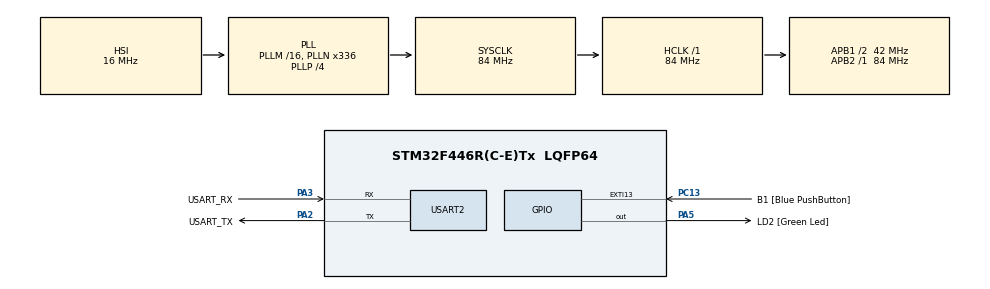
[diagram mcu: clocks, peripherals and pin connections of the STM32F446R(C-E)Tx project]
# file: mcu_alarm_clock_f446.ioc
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Mcu.Family=STM32F4
Mcu.Name=STM32F446R(C-E)Tx
Mcu.Package=LQFP64
NVIC.PriorityGroup=NVIC_PRIORITYGROUP_0
NVIC.RTC_Alarm_IRQn=true\:0\:0\:false\:false\:true\:true\:true\:true
PA13.Mode=Serial_Wire
PA13.Signal=SYS_JTMS-SWDIO
PA14.Mode=Serial_Wire
PA14.Signal=SYS_JTCK-SWCLK
PA2.GPIO_Label=USART_TX
PA2.Mode=Asynchronous
PA2.Signal=USART2_TX
PA3.GPIO_Label=USART_RX
PA3.Mode=Asynchronous
PA3.Signal=USART2_RX
PA5.GPIO_Label=LD2 [Green Led]
PA5.Signal=GPIO_Output
PC13.GPIO_Label=B1 [Blue PushButton]
PC13.GPIO_ModeDefaultEXTI=GPIO_MODE_IT_FALLING
PC13.Signal=GPXTI13
PC14-OSC32_IN.Mode=LSE-External-Oscillator
PC14-OSC32_IN.Signal=RCC_OSC32_IN
PC15-OSC32_OUT.Mode=LSE-External-Oscillator
PC15-OSC32_OUT.Signal=RCC_OSC32_OUT
PH0-OSC_IN.Mode=HSE-External-Oscillator
PH0-OSC_IN.Signal=RCC_OSC_IN
PH1-OSC_OUT.Mode=HSE-External-Oscillator
PH1-OSC_OUT.Signal=RCC_OSC_OUT
ProjectManager.HeapSize=0x200
ProjectManager.StackSize=0x400
ProjectManager.TargetToolchain=STM32CubeIDE
RCC.48MHZClocksFreq_Value=84000000
RCC.AHBFreq_Value=84000000
RCC.APB1CLKDivider=RCC_HCLK_DIV2
RCC.APB1Freq_Value=42000000
RCC.APB1TimFreq_Value=84000000
RCC.APB2Freq_Value=84000000
RCC.APB2TimFreq_Value=84000000
RCC.CortexFreq_Value=84000000
RCC.FLatency-AdvancedSettings=FLASH_LATENCY_2
RCC.HCLKFreq_Value=84000000
RCC.HSE_VALUE=8000000
RCC.HSI_VALUE=16000000
RCC.PLLN=336
RCC.PLLP=RCC_PLLP_DIV4
RCC.RCC_RTC_Clock_SourceVirtual=RCC_RTCCLKSOURCE_LSE
RCC.SYSCLKFreq_VALUE=84000000
RCC.SYSCLKSource=RCC_SYSCLKSOURCE_PLLCLK
RCC.USBFreq_Value=168000000
RCC.VCOOutputFreq_Value=336000000
RTC.Alarm=RTC_ALARM_A
RTC.AlarmDateWeekDaySel=RTC_ALARMDATEWEEKDAYSEL_WEEKDAY
RTC.AlarmMaskDateWeekDay=RTC_ALARMMASK_DATEWEEKDAY
RTC.AlarmMaskDateWeekDay_B=RTC_ALARMMASK_DATEWEEKDAY
RTC.AlarmMaskHours=RTC_ALARMMASK_HOURS
RTC.AlarmMaskMinutes=RTC_ALARMMASK_MINUTES
RTC.Alarm_B=RTC_ALARM_B
USART2.VirtualMode=VM_ASYNC
VP_RTC_VS_RTC_Activate.Mode=RTC_Enabled
VP_RTC_VS_RTC_Alarm_A_Intern.Mode=Alarm A
VP_RTC_VS_RTC_Alarm_B_Intern.Mode=Alarm B
VP_RTC_VS_RTC_Calendar.Mode=RTC_Calendar
board=NUCLEO-F446RE

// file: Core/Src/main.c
/* USER CODE BEGIN Header */
/**
  ******************************************************************************
  * @file           : main.c
  * @brief          : Main program body
  ******************************************************************************
  * @attention
  *
  * Copyright (c) 2025 STMicroelectronics.
  * All rights reserved.
  *
  * This software is licensed under terms that can be found in the LICENSE file
  * in the root directory of this software component.
  * If no LICENSE file comes with this software, it is provided AS-IS.
  *
  ******************************************************************************
  */
/* USER CODE END Header */
#include "main.h"
#include "rtc.h"
#include "usart.h"
#include "gpio.h"

/* USER CODE BEGIN PV */
char uart_buf[64];
uint8_t clock_hour = 0;
uint8_t clock_minute = 0;
/* USER CODE END PV */

void SystemClock_Config(void);

/* USER CODE BEGIN 0 */
int __io_putchar(int ch)
{
	HAL_UART_Transmit(&huart2, (uint8_t *)&ch, 1, HAL_MAX_DELAY);
	return ch;
}
/* USER CODE END 0 */

int main(void)
{

  /* MCU Configuration--------------------------------------------------------*/

  /* Reset of all peripherals, Initializes the Flash interface and the Systick. */
  HAL_Init();

  /* Configure the system clock */
  SystemClock_Config();

  /* Initialize all configured peripherals */
  MX_GPIO_Init();
  MX_USART2_UART_Init();
  MX_RTC_Init();
  /* USER CODE BEGIN 2 */
  printf("Alarm clock started.\r\n");
  /* USER CODE END 2 */

  /* Infinite loop */
  while (1)
  {

  }
}

void SystemClock_Config(void)
{
  RCC_OscInitTypeDef RCC_OscInitStruct = {0};
  RCC_ClkInitTypeDef RCC_ClkInitStruct = {0};

  /** Configure the main internal regulator output voltage
  */
  __HAL_RCC_PWR_CLK_ENABLE();
  __HAL_PWR_VOLTAGESCALING_CONFIG(PWR_REGULATOR_VOLTAGE_SCALE3);

  /** Initializes the RCC Oscillators according to the specified parameters
  * in the RCC_OscInitTypeDef structure.
  */
  RCC_OscInitStruct.OscillatorType = RCC_OSCILLATORTYPE_HSI|RCC_OSCILLATORTYPE_LSE;
  RCC_OscInitStruct.LSEState = RCC_LSE_ON;
  RCC_OscInitStruct.HSIState = RCC_HSI_ON;
  RCC_OscInitStruct.HSICalibrationValue = RCC_HSICALIBRATION_DEFAULT;
  RCC_OscInitStruct.PLL.PLLState = RCC_PLL_ON;
  RCC_OscInitStruct.PLL.PLLSource = RCC_PLLSOURCE_HSI;
  RCC_OscInitStruct.PLL.PLLM = 16;
  RCC_OscInitStruct.PLL.PLLN = 336;
  RCC_OscInitStruct.PLL.PLLP = RCC_PLLP_DIV4;
  RCC_OscInitStruct.PLL.PLLQ = 2;
  RCC_OscInitStruct.PLL.PLLR = 2;
  if (HAL_RCC_OscConfig(&RCC_OscInitStruct) != HAL_OK)
  {
    Error_Handler();
  }

  /** Initializes the CPU, AHB and APB buses clocks
  */
  RCC_ClkInitStruct.ClockType = RCC_CLOCKTYPE_HCLK|RCC_CLOCKTYPE_SYSCLK
                              |RCC_CLOCKTYPE_PCLK1|RCC_CLOCKTYPE_PCLK2;
  RCC_ClkInitStruct.SYSCLKSource = RCC_SYSCLKSOURCE_PLLCLK;
  RCC_ClkInitStruct.AHBCLKDivider = RCC_SYSCLK_DIV1;
  RCC_ClkInitStruct.APB1CLKDivider = RCC_HCLK_DIV2;
  RCC_ClkInitStruct.APB2CLKDivider = RCC_HCLK_DIV1;

  if (HAL_RCC_ClockConfig(&RCC_ClkInitStruct, FLASH_LATENCY_2) != HAL_OK)
  {
    Error_Handler();
  }
}

/* USER CODE BEGIN 4 */
void HAL_RTC_AlarmAEventCallback(RTC_HandleTypeDef *hrtc)
{
	RTC_TimeTypeDef time;
	RTC_DateTypeDef date;

	HAL_RTC_GetTime(hrtc, &time, RTC_FORMAT_BIN);
	HAL_RTC_GetDate(hrtc, &date, RTC_FORMAT_BIN);

	clock_hour = time.Hours;
	clock_minute = time.Minute;

	sprintf(uart_buf, "Current time: %02d:%02d\r\n", clock_hour, clock_minute);
	HAL_UART_Transmit(&huart2, (uint8_t *) uart_buf, strlen(uart_buf), HAL_MAX_DELAY);
}

void HAL_GPIO_EXTI_Callback(uint16_t GPIO_Pin)
{
	if (GPIO_Pin == Hour_Inc_Pin)
	{
		if (HAL_GPIO_ReadPin(GPIOA, Set_Clock_Pin) == GPIO_PIN_RESET)
		{
			clock_hour = (clock_hour + 1) % 24;

			RTC_SetTime(clock_hour, clock_minute, 0);
		}
	} else if (GPIO_Pin == Min_Inc_Pin)
	{
		if (HAL_GPIO_ReadPin(GPIOA, Set_Clock_Pin) == GPIO_PIN_RESET)
		{
			clock_minute = (clock_minute + 1) % 24;

			RTC_SetTime(clock_hour, clock_minute, 0);
		}
	}
}
/* USER CODE END 4 */

void Error_Handler(void)
{
  __disable_irq();
  while (1)
  {
  }
}
